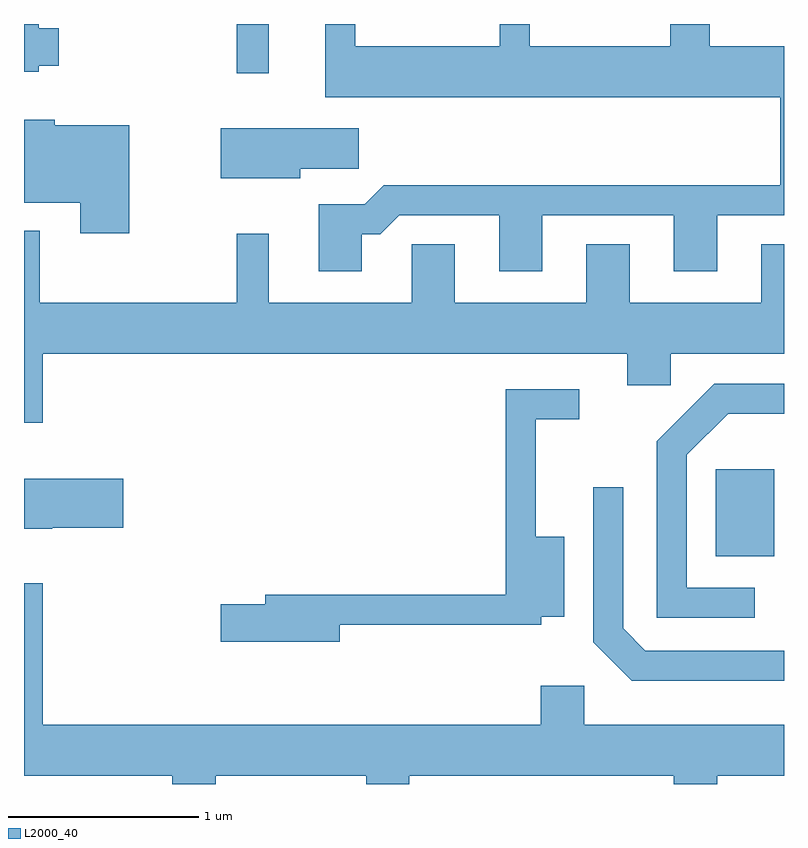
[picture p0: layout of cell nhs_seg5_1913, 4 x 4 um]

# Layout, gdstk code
import gdstk
lib = gdstk.Library(unit=1e-6, precision=1e-09)
def R(c, l, rs):  # rectangles x0, y0, x1, y1
    for r in rs: c.add(gdstk.rectangle(r[:2], r[2:], *l))
def P(c, l, *ps):  # polygons
    for p in ps: c.add(gdstk.Polygon(p, *l))
L2000_40 = (2000, 40)

nhs_seg5_1913 = lib.new_cell('nhs_seg5_1913')
R(nhs_seg5_1913, L2000_40, [(245.251,1471.271,245.559,1471.729), (242.731,1473.813,242.899,1474.072)])
P(nhs_seg5_1913, L2000_40, [(243.389,1472.966),(243.487,1472.966),(243.587,1473.066),(244.111,1473.066),(244.111,1472.771),(244.339,1472.771),(244.339,1473.066),(245.031,1473.066),(245.031,1472.771),(245.259,1472.771),(245.259,1473.066),(245.611,1473.066),(245.611,1473.954),(245.219,1473.954),(245.219,1474.072),(245.011,1474.072),(245.011,1473.954),(244.274,1473.954),(244.274,1474.072),(244.116,1474.072),(244.116,1473.954),(243.354,1473.954),(243.354,1474.072),(243.196,1474.072),(243.196,1473.686),(245.591,1473.686),(245.591,1473.224),(243.504,1473.224),(243.404,1473.124),(243.161,1473.124),(243.161,1472.771),(243.389,1472.771)],
  [(241.689,1473.851),(241.794,1473.851),(241.794,1474.049),(241.689,1474.049),(241.689,1474.072),(241.611,1474.072),(241.611,1473.821),(241.689,1473.821)],
  [(242.164,1473.539),(241.774,1473.539),(241.774,1473.569),(241.611,1473.569),(241.611,1473.131),(241.906,1473.131),(241.906,1472.971),(242.164,1472.971)],
  [(243.064,1473.311),(243.374,1473.311),(243.374,1473.524),(242.646,1473.524),(242.646,1473.261),(243.064,1473.261)],
  [(241.709,1472.336),(244.786,1472.336),(244.786,1472.171),(245.014,1472.171),(245.014,1472.336),(245.611,1472.336),(245.611,1472.914),(245.491,1472.914),(245.491,1472.604),(244.799,1472.604),(244.799,1472.914),(244.571,1472.914),(244.571,1472.604),(243.879,1472.604),(243.879,1472.914),(243.651,1472.914),(243.651,1472.604),(242.899,1472.604),(242.899,1472.968),(242.731,1472.968),(242.731,1472.604),(241.694,1472.604),(241.694,1472.983),(241.611,1472.983),(241.611,1471.973),(241.709,1471.973)],
  [(245.458,1471.104),(245.099,1471.104),(245.099,1471.804),(245.317,1472.021),(245.611,1472.021),(245.611,1472.179),(245.244,1472.179),(244.941,1471.877),(244.941,1470.946),(245.458,1470.946)],
  [(243.274,1470.911),(244.334,1470.911),(244.334,1470.951),(244.454,1470.951),(244.454,1471.374),(244.304,1471.374),(244.304,1471.991),(244.533,1471.991),(244.533,1472.149),(244.146,1472.149),(244.146,1471.069),(242.881,1471.069),(242.881,1471.019),(242.646,1471.019),(242.646,1470.821),(243.274,1470.821)],
  [(241.76,1471.421),(242.134,1471.421),(242.134,1471.679),(241.611,1471.679),(241.611,1471.416),(241.76,1471.416)],
  [(245.611,1470.774),(244.882,1470.774),(244.764,1470.892),(244.764,1471.633),(244.606,1471.633),(244.606,1470.819),(244.809,1470.616),(245.611,1470.616)],
  [(242.619,1470.116),(243.411,1470.116),(243.411,1470.072),(243.639,1470.072),(243.639,1470.116),(245.031,1470.116),(245.031,1470.072),(245.259,1470.072),(245.259,1470.116),(245.611,1470.116),(245.611,1470.384),(244.559,1470.384),(244.559,1470.589),(244.331,1470.589),(244.331,1470.384),(241.709,1470.384),(241.709,1471.128),(241.611,1471.128),(241.611,1470.116),(242.391,1470.116),(242.391,1470.072),(242.619,1470.072)])

lib.write_gds('nhs_seg5_1913.gds')
